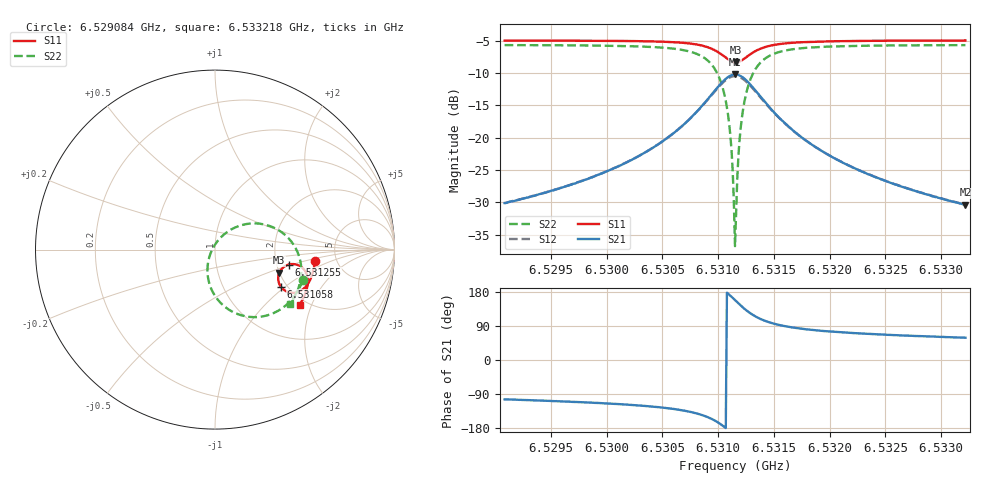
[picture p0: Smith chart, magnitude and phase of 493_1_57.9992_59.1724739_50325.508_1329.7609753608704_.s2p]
#  HZ  S  RI  R  50.00
! Rohde & Schwarz Vector Network Analyzer
! Rohde-Schwarz,ZNB20-2Port,1311601062101988,3.16
! Created: UTC 3/21/2024, 1:12:21 AM
! freq[Hz]  re:S11  im:S11  re:S21  im:S21  re:S12  im:S12  re:S22  im:S22
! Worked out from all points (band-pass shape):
!   401 points, 6.529084 GHz to 6.533218 GHz, reference 50 ohm
!   highest |S21| = -10.25 dB at 6.531151 GHz (marker M1); lowest = -30.4 dB at 6.533218 GHz (marker M2)
!   |S21| within 3 dB of the highest: 6.530946 GHz to 6.531359 GHz (413.1 kHz wide, 0.00632 % of centre)
!   lowest |S11| = -8.4 dB at 6.531162 GHz (marker M3), VSWR 2.23, Z = 99.8 - j30.1 ohm
!   |S11| at or under -10 dB: nowhere
!   |S22| runs from -36.8 to -5.7 dB; largest |S21 - S12| = 0.012
!   S11 on the Smith chart (normalised r, x): 6.529084 GHz: 3.42, -0.66; 6.531058 GHz: 1.86, -0.93; 6.531255 GHz: 2.33, -0.47; 6.533218 GHz: 1.82, -1.64
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6.5290841e9  0.557 -0.0657  -0.00746 -0.0303  -0.00802 -0.0301  0.4897 -0.1694
6.5297766e9  0.5462 -0.1231  -0.0169 -0.0428  -0.0178 -0.0428  0.4589 -0.2339
6.5304691e9  0.5172 -0.1915  -0.0507 -0.0736  -0.0528 -0.0723  0.3775 -0.3242
6.5307068e9  0.4899 -0.2211  -0.0905 -0.0927  -0.0932 -0.0897  0.2969 -0.3648
6.5308825e9  0.4461 -0.24  -0.1586 -0.0988  -0.1607 -0.0926  0.1708 -0.3716
6.5309859e9  0.4014 -0.2343  -0.2278 -0.0724  -0.227 -0.063  0.0529 -0.3167
6.5310583e9  0.3669 -0.2066  -0.279 -0.0138  -0.2731 -0.00403  -0.0246 -0.2097
6.5310996e9  0.3541 -0.1786  -0.2949 0.0393  -0.286 0.0471  -0.0423 -0.1191
6.5311203e9  0.352 -0.1623  -0.2954 0.0693  -0.2853 0.0755  -0.0384 -0.0696
6.5311306e9  0.3522 -0.1537  -0.2935 0.0846  -0.283 0.0899  -0.0327 -0.0447
6.5311409e9  0.3532 -0.1452  -0.2899 0.0999  -0.2792 0.1041  -0.0245 -0.0201
6.5311513e9  0.3554 -0.1369  -0.285 0.1146  -0.274 0.1181  -0.0141 0.00338
6.5311616e9  0.3584 -0.1287  -0.2784 0.129  -0.2676 0.1313  -0.0011 0.026
6.5311719e9  0.3622 -0.1211  -0.2706 0.1425  -0.2599 0.144  0.0139 0.047
6.5311926e9  0.3719 -0.1072  -0.2514 0.1667  -0.2415 0.1662  0.0491 0.0833
6.531203e9  0.3778 -0.1013  -0.2406 0.177  -0.231 0.1759  0.0686 0.0986
6.5312546e9  0.4111 -0.0831  -0.1798 0.209  -0.1733 0.2059  0.174 0.1422
6.531327e9  0.4543 -0.0836  -0.1042 0.2108  -0.1007 0.2076  0.3017 0.1325
6.5314303e9  0.4916 -0.1063  -0.0391 0.1793  -0.0376 0.1775  0.4078 0.0654
6.5318438e9  0.5172 -0.1866  0.0162 0.0862  0.0173 0.0859  0.4809 -0.1281
6.5325363e9  0.4977 -0.2575  0.0181 0.0412  0.0188 0.041  0.4526 -0.245
6.5332184e9  0.4708 -0.3083  0.0157 0.0259  0.0162 0.0256  0.418 -0.3057
